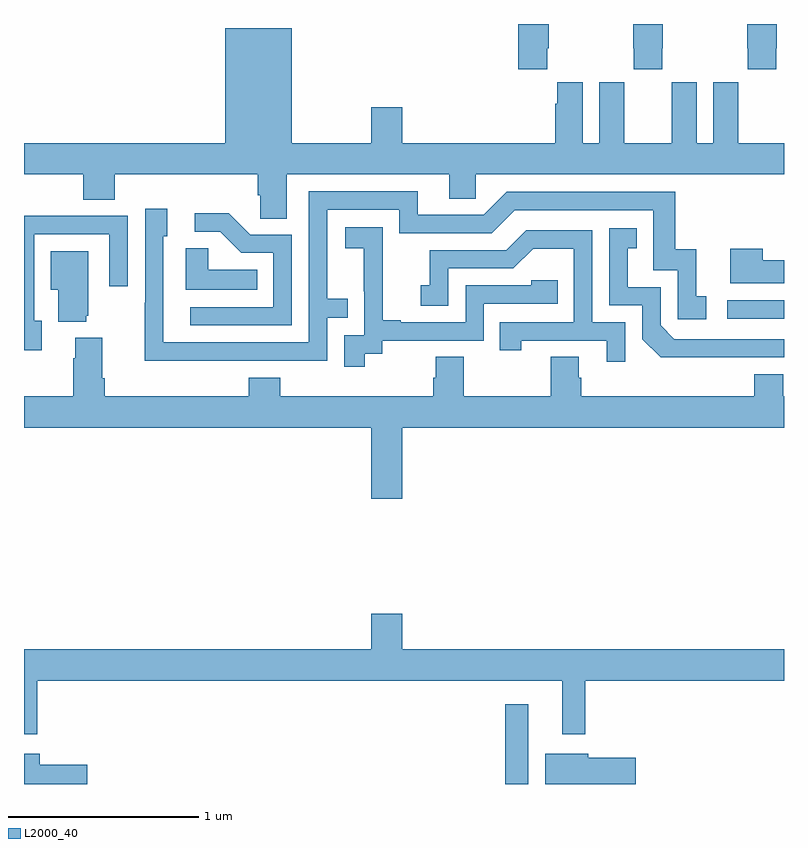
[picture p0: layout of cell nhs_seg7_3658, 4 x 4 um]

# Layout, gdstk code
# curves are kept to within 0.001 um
import gdstk
lib = gdstk.Library(unit=1e-6, precision=1e-09)
def R(c, l, rs):  # rectangles x0, y0, x1, y1
    for r in rs: c.add(gdstk.rectangle(r[:2], r[2:], *l))
def P(c, l, *ps):  # polygons
    for p in ps: c.add(gdstk.Polygon(p, *l))
L2000_40 = (2000, 40)

nhs_seg7_3658 = lib.new_cell('nhs_seg7_3658')
R(nhs_seg7_3658, L2000_40, [(345.534,1072,345.655,1072.42), (346.701,1074.45,347,1074.546)])
P(nhs_seg7_3658, L2000_40, [(346.959,1075.873),(346.962,1075.873),(346.962,1076),(346.807,1076),(346.807,1075.873),(346.809,1075.873),(346.809,1075.761),(346.959,1075.761)],
  [(346.359,1075.873),(346.362,1075.873),(346.362,1076),(346.207,1076),(346.207,1075.873),(346.209,1075.873),(346.209,1075.761),(346.359,1075.761)],
  [(345.755,1075.873),(345.762,1075.873),(345.762,1076),(345.602,1076),(345.602,1075.761),(345.755,1075.761)],
  [(344.383,1075.208),(345.239,1075.208),(345.239,1075.081),(345.378,1075.081),(345.378,1075.208),(347,1075.208),(347,1075.372),(346.759,1075.372),(346.759,1075.58),(346.758,1075.58),(346.758,1075.693),(346.628,1075.693),(346.628,1075.372),(346.54,1075.372),(346.54,1075.693),(346.41,1075.693),(346.41,1075.58),(346.409,1075.58),(346.409,1075.372),(346.159,1075.372),(346.159,1075.58),(346.158,1075.58),(346.158,1075.693),(346.028,1075.693),(346.028,1075.372),(345.94,1075.372),(345.94,1075.693),(345.806,1075.693),(345.806,1075.58),(345.797,1075.58),(345.797,1075.372),(344.992,1075.372),(344.992,1075.561),(344.828,1075.561),(344.828,1075.372),(344.41,1075.372),(344.41,1075.978),(344.06,1075.978),(344.06,1075.372),(343,1075.372),(343,1075.208),(343.313,1075.208),(343.313,1075.075),(343.478,1075.075),(343.478,1075.208),(344.231,1075.208),(344.231,1075.099),(344.244,1075.099),(344.244,1074.976),(344.383,1074.976)],
  [(344.099,1074.228),(344.595,1074.228),(344.595,1074.453),(344.705,1074.453),(344.705,1074.554),(344.595,1074.554),(344.595,1075.023),(344.976,1075.023),(344.976,1074.9),(345.462,1074.9),(345.582,1075.02),(346.311,1075.02),(346.311,1074.705),(346.44,1074.705),(346.44,1074.447),(346.591,1074.447),(346.591,1074.567),(346.538,1074.567),(346.538,1074.814),(346.427,1074.814),(346.427,1075.116),(345.54,1075.116),(345.42,1074.996),(345.073,1074.996),(345.073,1075.119),(344.499,1075.119),(344.499,1074.324),(343.734,1074.324),(343.734,1074.882),(343.753,1074.882),(343.753,1075.027),(343.638,1075.027),(343.638,1074.533),(343.636,1074.533),(343.636,1074.227)],
  [(344.409,1074.891),(344.19,1074.891),(344.077,1075.004),(343.899,1075.004),(343.899,1074.906),(344.033,1074.906),(344.144,1074.795),(344.313,1074.795),(344.313,1074.51),(343.875,1074.51),(343.875,1074.414),(344.409,1074.414)],
  [(343.093,1074.438),(343.053,1074.438),(343.053,1074.894),(343.449,1074.894),(343.449,1074.621),(343.545,1074.621),(343.545,1074.99),(343.229,1074.99),(343.229,1074.992),(343,1074.992),(343,1074.282),(343.093,1074.282)],
  [(344.794,1074.265),(344.886,1074.265),(344.886,1074.333),(345.42,1074.333),(345.42,1074.528),(345.809,1074.528),(345.809,1074.651),(345.669,1074.651),(345.669,1074.624),(345.324,1074.624),(345.324,1074.429),(344.983,1074.429),(344.983,1074.442),(344.888,1074.442),(344.888,1074.725),(344.889,1074.725),(344.889,1074.931),(344.691,1074.931),(344.691,1074.821),(344.789,1074.821),(344.789,1074.593),(344.79,1074.593),(344.79,1074.363),(344.685,1074.363),(344.685,1074.195),(344.794,1074.195)],
  [(346.76,1074.246),(347,1074.246),(347,1074.342),(346.422,1074.342),(346.35,1074.414),(346.35,1074.615),(346.177,1074.615),(346.177,1074.819),(346.226,1074.819),(346.226,1074.925),(346.08,1074.925),(346.08,1074.519),(346.254,1074.519),(346.254,1074.342),(346.352,1074.245)],
  [(346.164,1074.429),(345.99,1074.429),(345.99,1074.915),(345.644,1074.915),(345.539,1074.81),(345.136,1074.81),(345.136,1074.625),(345.087,1074.625),(345.087,1074.516),(345.234,1074.516),(345.234,1074.714),(345.576,1074.714),(345.68,1074.818),(345.894,1074.818),(345.894,1074.429),(345.505,1074.429),(345.505,1074.282),(345.616,1074.282),(345.616,1074.333),(346.067,1074.333),(346.067,1074.222),(346.164,1074.222)],
  [(344.228,1074.706),(343.971,1074.706),(343.971,1074.821),(343.85,1074.821),(343.85,1074.602),(344.228,1074.602)],
  [(347,1074.757),(346.889,1074.757),(346.889,1074.817),(346.718,1074.817),(346.718,1074.635),(347,1074.635)],
  [(343.328,1074.465),(343.339,1074.465),(343.339,1074.805),(343.142,1074.805),(343.142,1074.602),(343.181,1074.602),(343.181,1074.434),(343.328,1074.434)],
  [(344.992,1073.876),(347,1073.876),(347,1074.04),(346.996,1074.04),(346.996,1074.157),(346.844,1074.157),(346.844,1074.04),(345.932,1074.04),(345.932,1074.138),(345.919,1074.138),(345.919,1074.248),(345.772,1074.248),(345.772,1074.04),(345.315,1074.04),(345.315,1074.248),(345.167,1074.248),(345.167,1074.138),(345.155,1074.138),(345.155,1074.04),(344.348,1074.04),(344.348,1074.139),(344.183,1074.139),(344.183,1074.04),(343.424,1074.04),(343.424,1074.136),(343.411,1074.136),(343.411,1074.349),(343.271,1074.349),(343.271,1074.242),(343.259,1074.242),(343.259,1074.04),(343,1074.04),(343,1073.876),(344.828,1073.876),(344.828,1073.502),(344.992,1073.502)],
  [(343.069,1072.544),(345.833,1072.544),(345.833,1072.263),(345.955,1072.263),(345.955,1072.544),(347,1072.544),(347,1072.708),(344.992,1072.708),(344.992,1072.897),(344.828,1072.897),(344.828,1072.708),(343,1072.708),(343,1072.263),(343.069,1072.263)],
  [(346.219,1072.137),(345.97,1072.137),(345.97,1072.159),(345.743,1072.159),(345.743,1072),(346.219,1072)],
  [(343.333,1072.101),(343.084,1072.101),(343.084,1072.159),(343,1072.159),(343,1072),(343.333,1072)])

lib.write_gds('nhs_seg7_3658.gds')
